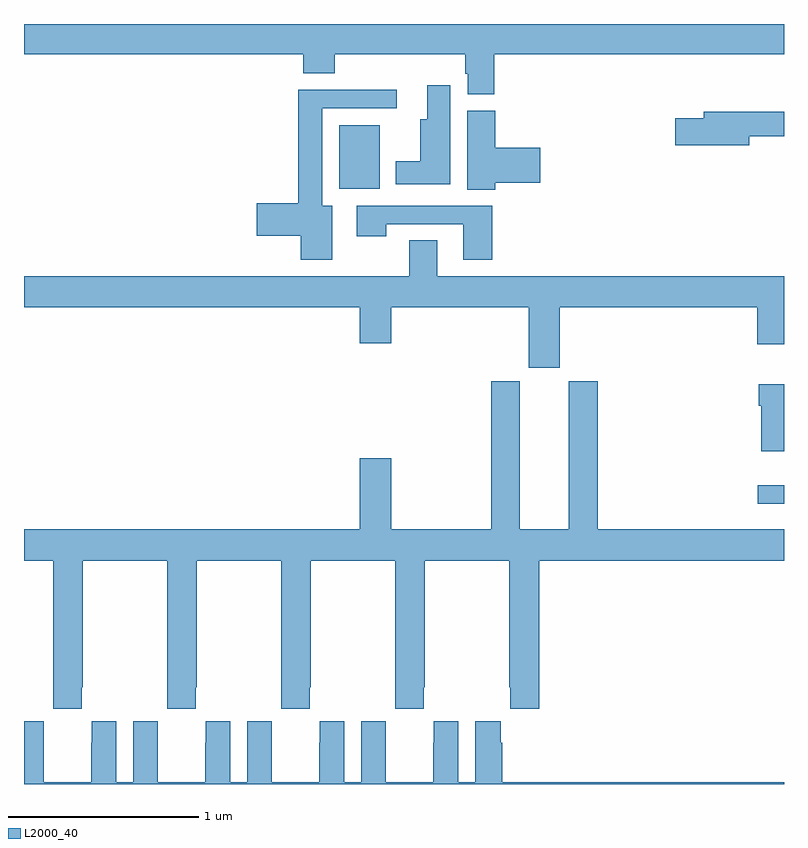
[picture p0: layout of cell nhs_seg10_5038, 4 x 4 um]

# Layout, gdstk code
import gdstk
lib = gdstk.Library(unit=1e-6, precision=1e-09)
def R(c, l, rs):  # rectangles x0, y0, x1, y1
    for r in rs: c.add(gdstk.rectangle(r[:2], r[2:], *l))
def P(c, l, *ps):  # polygons
    for p in ps: c.add(gdstk.Polygon(p, *l))
L2000_40 = (2000, 40)

nhs_seg10_5038 = lib.new_cell('nhs_seg10_5038')
R(nhs_seg10_5038, L2000_40, [(406.863,1273.976,407,1274.073), (404.66,1275.632,404.872,1275.967)])
P(nhs_seg10_5038, L2000_40, [(405.476,1276.34),(407,1276.34),(407,1276.5),(403,1276.5),(403,1276.34),(404.471,1276.34),(404.471,1276.241),(404.636,1276.241),(404.636,1276.34),(405.323,1276.34),(405.323,1276.239),(405.335,1276.239),(405.335,1276.129),(405.476,1276.129)],
  [(405.244,1276.177),(405.122,1276.177),(405.122,1276),(405.086,1276),(405.086,1275.778),(404.957,1275.778),(404.957,1275.656),(405.244,1275.656)],
  [(404.623,1275.544),(404.569,1275.544),(404.569,1276.056),(404.962,1276.056),(404.962,1276.154),(404.444,1276.154),(404.444,1275.557),(404.226,1275.557),(404.226,1275.386),(404.456,1275.386),(404.456,1275.258),(404.623,1275.258)],
  [(405.479,1275.665),(405.718,1275.665),(405.718,1275.848),(405.479,1275.848),(405.479,1276.044),(405.332,1276.044),(405.332,1275.628),(405.479,1275.628)],
  [(406.816,1275.91),(407,1275.91),(407,1276.039),(406.577,1276.039),(406.577,1276.005),(406.428,1276.005),(406.428,1275.863),(406.816,1275.863)],
  [(405.464,1275.543),(404.751,1275.543),(404.751,1275.384),(404.907,1275.384),(404.907,1275.447),(405.311,1275.447),(405.311,1275.258),(405.464,1275.258)],
  [(405.82,1275.008),(406.859,1275.008),(406.859,1274.814),(407,1274.814),(407,1275.172),(405.175,1275.172),(405.175,1275.362),(405.028,1275.362),(405.028,1275.172),(403,1275.172),(403,1275.008),(404.768,1275.008),(404.768,1274.82),(404.932,1274.82),(404.932,1275.008),(405.656,1275.008),(405.656,1274.691),(405.82,1274.691)],
  [(403.305,1273.009),(403.308,1273.009),(403.308,1273.676),(403.753,1273.676),(403.753,1273.009),(403.755,1273.009),(403.755,1272.897),(403.905,1272.897),(403.905,1273.009),(403.908,1273.009),(403.908,1273.676),(404.353,1273.676),(404.353,1273.009),(404.355,1273.009),(404.355,1272.897),(404.505,1272.897),(404.505,1273.009),(404.508,1273.009),(404.508,1273.676),(404.953,1273.676),(404.953,1273.009),(404.955,1273.009),(404.955,1272.897),(405.105,1272.897),(405.105,1273.009),(405.108,1273.009),(405.108,1273.676),(405.553,1273.676),(405.553,1273.009),(405.559,1273.009),(405.559,1272.897),(405.713,1272.897),(405.713,1273.676),(407,1273.676),(407,1273.84),(406.019,1273.84),(406.019,1274.619),(405.866,1274.619),(405.866,1273.84),(405.61,1273.84),(405.61,1274.619),(405.458,1274.619),(405.458,1273.84),(404.932,1273.84),(404.932,1274.215),(404.768,1274.215),(404.768,1273.84),(403,1273.84),(403,1273.676),(403.153,1273.676),(403.153,1273.009),(403.155,1273.009),(403.155,1272.897),(403.305,1272.897)],
  [(407,1274.605),(406.868,1274.605),(406.868,1274.492),(406.88,1274.492),(406.88,1274.252),(407,1274.252)],
  [(407,1272.508),(405.518,1272.508),(405.518,1272.716),(405.508,1272.716),(405.508,1272.829),(405.374,1272.829),(405.374,1272.508),(405.286,1272.508),(405.286,1272.829),(405.156,1272.829),(405.156,1272.716),(405.155,1272.716),(405.155,1272.508),(404.905,1272.508),(404.905,1272.716),(404.904,1272.716),(404.904,1272.829),(404.774,1272.829),(404.774,1272.508),(404.686,1272.508),(404.686,1272.829),(404.556,1272.829),(404.556,1272.716),(404.555,1272.716),(404.555,1272.508),(404.305,1272.508),(404.305,1272.716),(404.304,1272.716),(404.304,1272.829),(404.174,1272.829),(404.174,1272.508),(404.086,1272.508),(404.086,1272.829),(403.956,1272.829),(403.956,1272.716),(403.955,1272.716),(403.955,1272.508),(403.705,1272.508),(403.705,1272.716),(403.704,1272.716),(403.704,1272.829),(403.574,1272.829),(403.574,1272.508),(403.486,1272.508),(403.486,1272.829),(403.356,1272.829),(403.356,1272.716),(403.355,1272.716),(403.355,1272.508),(403.105,1272.508),(403.105,1272.716),(403.104,1272.716),(403.104,1272.829),(403,1272.829),(403,1272.5),(407,1272.5)])

lib.write_gds('nhs_seg10_5038.gds')
